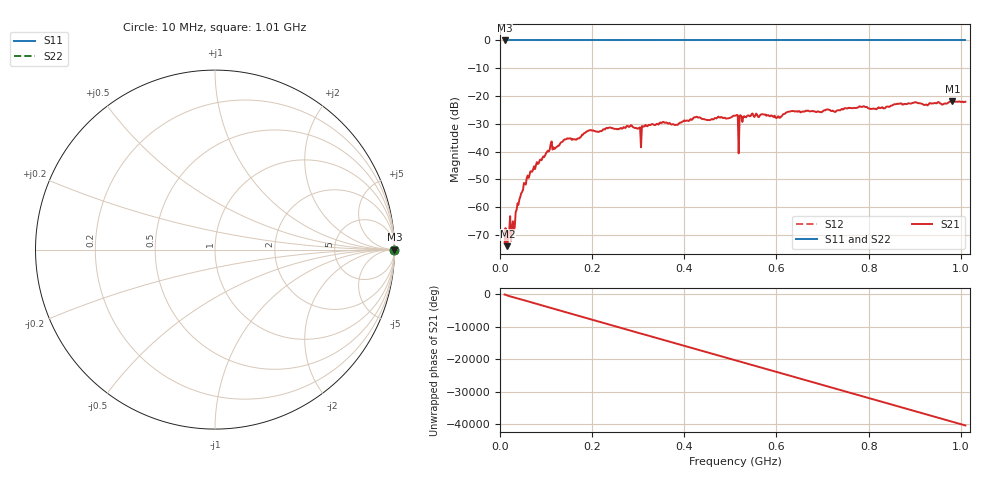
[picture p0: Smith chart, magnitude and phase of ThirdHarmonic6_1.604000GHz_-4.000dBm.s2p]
! 8/16/2025 7:07:33 PM
! C:\ANRITSUVNA\TEMP\TEMP.S2P
! CHANNEL.1
! TR.MEASUREMENT
! RAW.DATA
! RF.CORRECTION.OFF
! AVERAGING.OFF
! IF.BANDWIDTH: 5KHZ
! SWEEPTYPE:  FREQ.SWEEP(Linear)
! Reference Plane Port Info
! PORT:  PORT1  PORT2
! DISTANCE:  0  m  0  m
! TIME:  0  s  0  s
! PHASE.OFFSET:  0  deg.  0  deg.
! LOSS:  0  dB  0  dB
! REF.LOSS:  0  dB  0  dB
! REF.FREQ:  0  Hz  0  Hz
! Power Info
! POWER:  -20  dBm  -20  dBm
! EFF.POWER:  -20  dBm  -20  dBm
! SOURCE.ATTEN:  0  dB  0  dB
! TEST.ATTEN:  0  dB  0  dB
# GHZ S RI R 50.0
! FREQ.GHZ  S11RE  S11IM  S21RE  S21IM  S12RE  S12IM  S22RE  S22IM
!; PortSelection: Port_12
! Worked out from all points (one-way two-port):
!   501 points, 10 MHz to 1.01 GHz, reference 50 ohm
!   highest |S21| = -21.92 dB at 982 MHz (marker M1); lowest = -74.0 dB at 16 MHz (marker M2)
!   lowest |S11| = 0.0 dB at 10 MHz (marker M3)
!   |S11| at or under -10 dB: nowhere
!   |S22| runs from 0.0 to 0.0 dB; largest |S21 - S12| = 1.1
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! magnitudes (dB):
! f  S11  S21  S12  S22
! 10 MHz  0.0  -73.0  0.0  0.0
! 16 MHz  0.0  -74.0  0.0  0.0
! 24 MHz  0.0  -72.0  0.0  0.0
! 28 MHz  0.0  -65.1  0.0  0.0
! 38 MHz  0.0  -58.6  0.0  0.0
! 48 MHz  0.0  -54.5  0.0  0.0
! 70 MHz  0.0  -47.2  0.0  0.0
! 108 MHz  0.0  -39.2  0.0  0.0
! 178 MHz  0.0  -33.9  0.0  0.0
! 280 MHz  0.0  -31.1  0.0  0.0
! 302 MHz  0.0  -31.4  0.0  0.0
! 344 MHz  0.0  -30.3  0.0  0.0
! 510 MHz  0.0  -27.0  0.0  0.0
! 514 MHz  0.0  -26.8  0.0  0.0
! 522 MHz  0.0  -26.9  0.0  0.0
! 524 MHz  0.0  -27.3  0.0  0.0
! 544 MHz  0.0  -27.2  0.0  0.0
! 604 MHz  0.0  -27.3  0.0  0.0
! 678 MHz  0.0  -25.4  0.0  0.0
! 844 MHz  0.0  -23.9  0.0  0.0
! 982 MHz  0.0  -21.9  0.0  0.0
! 1.01 GHz  0.0  -22.1  0.0  0.0
